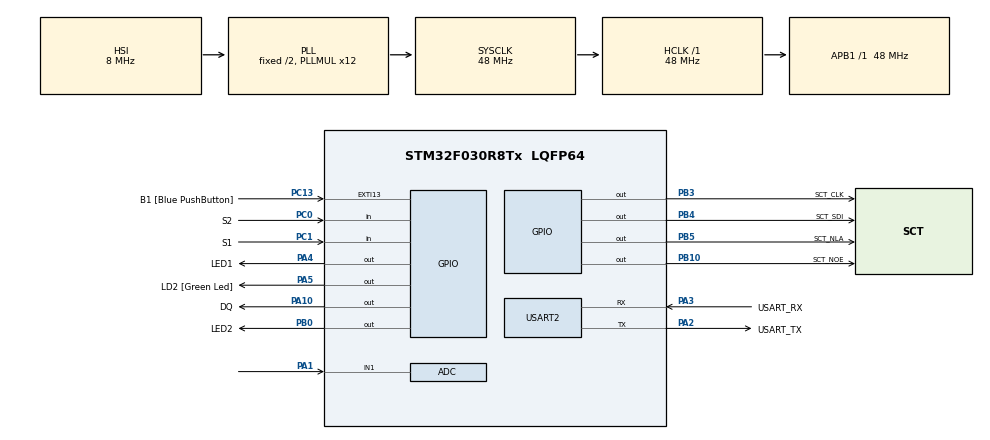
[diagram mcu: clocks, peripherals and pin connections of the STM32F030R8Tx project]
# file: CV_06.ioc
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ADC.ContinuousConvMode=ENABLE
ADC.Overrun=ADC_OVR_DATA_OVERWRITTEN
ADC.Resolution=ADC_RESOLUTION_10B
Mcu.Family=STM32F0
Mcu.Name=STM32F030R8Tx
Mcu.Package=LQFP64
PA1.Mode=IN1
PA1.Signal=ADC_IN1
PA10.GPIO_Label=DQ
PA10.GPIO_ModeDefaultOutputPP=GPIO_MODE_OUTPUT_OD
PA10.GPIO_PuPd=GPIO_NOPULL
PA10.PinState=GPIO_PIN_SET
PA10.Signal=GPIO_Output
PA13.GPIO_Label=TMS
PA13.Mode=Serial_Wire
PA13.Signal=SYS_SWDIO
PA14.GPIO_Label=TCK
PA14.Mode=Serial_Wire
PA14.Signal=SYS_SWCLK
PA2.GPIO_Label=USART_TX
PA2.GPIO_Mode=GPIO_MODE_AF_PP
PA2.GPIO_PuPd=GPIO_NOPULL
PA2.GPIO_Speed=GPIO_SPEED_FREQ_LOW
PA2.Mode=Asynchronous
PA2.Signal=USART2_TX
PA3.GPIO_Label=USART_RX
PA3.GPIO_Mode=GPIO_MODE_AF_PP
PA3.GPIO_PuPd=GPIO_NOPULL
PA3.GPIO_Speed=GPIO_SPEED_FREQ_LOW
PA3.Mode=Asynchronous
PA3.Signal=USART2_RX
PA4.GPIO_Label=LED1
PA4.Signal=GPIO_Output
PA5.GPIO_Label=LD2 [Green Led]
PA5.GPIO_Mode=GPIO_MODE_OUTPUT_PP
PA5.GPIO_PuPd=GPIO_NOPULL
PA5.GPIO_Speed=GPIO_SPEED_FREQ_LOW
PA5.Signal=GPIO_Output
PB0.GPIO_Label=LED2
PB0.Signal=GPIO_Output
PB10.GPIO_Label=SCT_NOE
PB10.Signal=GPIO_Output
PB3.GPIO_Label=SCT_CLK
PB3.Signal=GPIO_Output
PB4.GPIO_Label=SCT_SDI
PB4.Signal=GPIO_Output
PB5.GPIO_Label=SCT_NLA
PB5.Signal=GPIO_Output
PC0.GPIO_Label=S2
PC0.GPIO_PuPd=GPIO_PULLUP
PC0.Signal=GPIO_Input
PC1.GPIO_Label=S1
PC1.GPIO_PuPd=GPIO_PULLUP
PC1.Signal=GPIO_Input
PC13.GPIO_Label=B1 [Blue PushButton]
PC13.GPIO_ModeDefaultEXTI=GPIO_MODE_IT_FALLING
PC13.Signal=GPXTI13
PC14-OSC32_IN.Mode=LSE-External-Oscillator
PC14-OSC32_IN.Signal=RCC_OSC32_IN
PC15-OSC32_OUT.Mode=LSE-External-Oscillator
PC15-OSC32_OUT.Signal=RCC_OSC32_OUT
PF0-OSC_IN.Mode=HSE-External-Clock-Source
PF0-OSC_IN.Signal=RCC_OSC_IN
PF1-OSC_OUT.Signal=RCC_OSC_OUT
ProjectManager.HeapSize=0x200
ProjectManager.StackSize=0x400
ProjectManager.TargetToolchain=STM32CubeIDE
RCC.AHBFreq_Value=48000000
RCC.APB1Freq_Value=48000000
RCC.APB1TimFreq_Value=48000000
RCC.HCLKFreq_Value=48000000
RCC.PLLMUL=RCC_PLL_MUL12
RCC.SYSCLKFreq_VALUE=48000000
RCC.SYSCLKSource=RCC_SYSCLKSOURCE_PLLCLK
USART2.VirtualMode-Asynchronous=VM_ASYNC
board=NUCLEO-F030R8

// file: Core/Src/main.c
/* USER CODE BEGIN Header */
/**
 ******************************************************************************
 * @file           : main.c
 * @brief          : Main program body
 ******************************************************************************
 * @attention
 *
 * Copyright (c) 2023 STMicroelectronics.
 * All rights reserved.
 *
 * This software is licensed under terms that can be found in the LICENSE file
 * in the root directory of this software component.
 * If no LICENSE file comes with this software, it is provided AS-IS.
 *
 ******************************************************************************
 */
/* USER CODE END Header */
#include "main.h"

/* USER CODE BEGIN Includes */
#include "1wire.h"
#include "sct.h"
/* USER CODE END Includes */

ADC_HandleTypeDef hadc;

UART_HandleTypeDef huart2;

void SystemClock_Config(void);
static void MX_GPIO_Init(void);
static void MX_USART2_UART_Init(void);
static void MX_ADC_Init(void);
/* USER CODE BEGIN PFP */
static const int16_t ntc[] = {
#include "C:\Temp\Macejko\embeded\CV_06\data.dlm"
		};
/* USER CODE END PFP */

int main(void) {

	/* MCU Configuration--------------------------------------------------------*/

	/* Reset of all peripherals, Initializes the Flash interface and the Systick. */
	HAL_Init();

	/* Configure the system clock */
	SystemClock_Config();

	/* Initialize all configured peripherals */
	MX_GPIO_Init();
	MX_USART2_UART_Init();
	MX_ADC_Init();
	/* USER CODE BEGIN 2 */
	OWInit();
	sct_init();
	HAL_ADCEx_Calibration_Start(&hadc);
	HAL_ADC_Start(&hadc);
	static enum {
		DS18B20, NTC
	} state = NTC;

	/* USER CODE END 2 */

	/* Infinite loop */
	/* USER CODE BEGIN WHILE */
	while (1) {

		/*int16_t temp;
		 if (OWReadTemperature(&temp))
		 sct_value(temp / 10 + 5);
		 else
		 sct_value(000);
		 */

		if (HAL_GPIO_ReadPin(S1_GPIO_Port, S1_Pin) == 0) {
			state = DS18B20;

		} else if (HAL_GPIO_ReadPin(S2_GPIO_Port, S2_Pin) == 0) {
			state = NTC;
		}

		int16_t temp_adc = ntc[HAL_ADC_GetValue(&hadc)];
		int16_t temp;

		switch (state) {
		case NTC:
			HAL_GPIO_WritePin(LED1_GPIO_Port, LED1_Pin, 1);
			HAL_GPIO_WritePin(LED2_GPIO_Port, LED2_Pin, 0);
			HAL_Delay(500);
			sct_value(temp_adc*10);
			break;
		case DS18B20:
			HAL_GPIO_WritePin(LED1_GPIO_Port, LED1_Pin, 0);
			HAL_GPIO_WritePin(LED2_GPIO_Port, LED2_Pin, 1);
			//OWConvertAll();
			//HAL_Delay(CONVERT_T_DELAY);
			//OWReadTemperature(&temp);
			sct_value(temp);
			break;
		default:
			break;
		}

		/* USER CODE END WHILE */

	}
}

void SystemClock_Config(void) {
	RCC_OscInitTypeDef RCC_OscInitStruct = { 0 };
	RCC_ClkInitTypeDef RCC_ClkInitStruct = { 0 };

	/** Initializes the RCC Oscillators according to the specified parameters
	 * in the RCC_OscInitTypeDef structure.
	 */
	RCC_OscInitStruct.OscillatorType = RCC_OSCILLATORTYPE_HSI
			| RCC_OSCILLATORTYPE_HSI14;
	RCC_OscInitStruct.HSIState = RCC_HSI_ON;
	RCC_OscInitStruct.HSI14State = RCC_HSI14_ON;
	RCC_OscInitStruct.HSICalibrationValue = RCC_HSICALIBRATION_DEFAULT;
	RCC_OscInitStruct.HSI14CalibrationValue = 16;
	RCC_OscInitStruct.PLL.PLLState = RCC_PLL_ON;
	RCC_OscInitStruct.PLL.PLLSource = RCC_PLLSOURCE_HSI;
	RCC_OscInitStruct.PLL.PLLMUL = RCC_PLL_MUL12;
	RCC_OscInitStruct.PLL.PREDIV = RCC_PREDIV_DIV1;
	if (HAL_RCC_OscConfig(&RCC_OscInitStruct) != HAL_OK) {
		Error_Handler();
	}

	/** Initializes the CPU, AHB and APB buses clocks
	 */
	RCC_ClkInitStruct.ClockType = RCC_CLOCKTYPE_HCLK | RCC_CLOCKTYPE_SYSCLK
			| RCC_CLOCKTYPE_PCLK1;
	RCC_ClkInitStruct.SYSCLKSource = RCC_SYSCLKSOURCE_PLLCLK;
	RCC_ClkInitStruct.AHBCLKDivider = RCC_SYSCLK_DIV1;
	RCC_ClkInitStruct.APB1CLKDivider = RCC_HCLK_DIV1;

	if (HAL_RCC_ClockConfig(&RCC_ClkInitStruct, FLASH_LATENCY_1) != HAL_OK) {
		Error_Handler();
	}
}

static void MX_ADC_Init(void) {

	ADC_ChannelConfTypeDef sConfig = { 0 };

	/** Configure the global features of the ADC (Clock, Resolution, Data Alignment and number of conversion)
	 */
	hadc.Instance = ADC1;
	hadc.Init.ClockPrescaler = ADC_CLOCK_ASYNC_DIV1;
	hadc.Init.Resolution = ADC_RESOLUTION_10B;
	hadc.Init.DataAlign = ADC_DATAALIGN_RIGHT;
	hadc.Init.ScanConvMode = ADC_SCAN_DIRECTION_FORWARD;
	hadc.Init.EOCSelection = ADC_EOC_SINGLE_CONV;
	hadc.Init.LowPowerAutoWait = DISABLE;
	hadc.Init.LowPowerAutoPowerOff = DISABLE;
	hadc.Init.ContinuousConvMode = ENABLE;
	hadc.Init.DiscontinuousConvMode = DISABLE;
	hadc.Init.ExternalTrigConv = ADC_SOFTWARE_START;
	hadc.Init.ExternalTrigConvEdge = ADC_EXTERNALTRIGCONVEDGE_NONE;
	hadc.Init.DMAContinuousRequests = DISABLE;
	hadc.Init.Overrun = ADC_OVR_DATA_OVERWRITTEN;
	if (HAL_ADC_Init(&hadc) != HAL_OK) {
		Error_Handler();
	}

	/** Configure for the selected ADC regular channel to be converted.
	 */
	sConfig.Channel = ADC_CHANNEL_1;
	sConfig.Rank = ADC_RANK_CHANNEL_NUMBER;
	sConfig.SamplingTime = ADC_SAMPLETIME_1CYCLE_5;
	if (HAL_ADC_ConfigChannel(&hadc, &sConfig) != HAL_OK) {
		Error_Handler();
	}

}

static void MX_USART2_UART_Init(void) {

	huart2.Instance = USART2;
	huart2.Init.BaudRate = 38400;
	huart2.Init.WordLength = UART_WORDLENGTH_8B;
	huart2.Init.StopBits = UART_STOPBITS_1;
	huart2.Init.Parity = UART_PARITY_NONE;
	huart2.Init.Mode = UART_MODE_TX_RX;
	huart2.Init.HwFlowCtl = UART_HWCONTROL_NONE;
	huart2.Init.OverSampling = UART_OVERSAMPLING_16;
	huart2.Init.OneBitSampling = UART_ONE_BIT_SAMPLE_DISABLE;
	huart2.AdvancedInit.AdvFeatureInit = UART_ADVFEATURE_NO_INIT;
	if (HAL_UART_Init(&huart2) != HAL_OK) {
		Error_Handler();
	}

}

static void MX_GPIO_Init(void) {
	GPIO_InitTypeDef GPIO_InitStruct = { 0 };

	/* GPIO Ports Clock Enable */
	__HAL_RCC_GPIOC_CLK_ENABLE();
	__HAL_RCC_GPIOF_CLK_ENABLE();
	__HAL_RCC_GPIOA_CLK_ENABLE();
	__HAL_RCC_GPIOB_CLK_ENABLE();

	/*Configure GPIO pin Output Level */
	HAL_GPIO_WritePin(GPIOA, LED1_Pin | LD2_Pin, GPIO_PIN_RESET);

	/*Configure GPIO pin Output Level */
	HAL_GPIO_WritePin(GPIOB,
	LED2_Pin | SCT_NOE_Pin | SCT_CLK_Pin | SCT_SDI_Pin | SCT_NLA_Pin,
			GPIO_PIN_RESET);

	/*Configure GPIO pin Output Level */
	HAL_GPIO_WritePin(DQ_GPIO_Port, DQ_Pin, GPIO_PIN_SET);

	/*Configure GPIO pin : B1_Pin */
	GPIO_InitStruct.Pin = B1_Pin;
	GPIO_InitStruct.Mode = GPIO_MODE_IT_FALLING;
	GPIO_InitStruct.Pull = GPIO_NOPULL;
	HAL_GPIO_Init(B1_GPIO_Port, &GPIO_InitStruct);

	/*Configure GPIO pins : S2_Pin S1_Pin */
	GPIO_InitStruct.Pin = S2_Pin | S1_Pin;
	GPIO_InitStruct.Mode = GPIO_MODE_INPUT;
	GPIO_InitStruct.Pull = GPIO_PULLUP;
	HAL_GPIO_Init(GPIOC, &GPIO_InitStruct);

	/*Configure GPIO pins : LED1_Pin LD2_Pin */
	GPIO_InitStruct.Pin = LED1_Pin | LD2_Pin;
	GPIO_InitStruct.Mode = GPIO_MODE_OUTPUT_PP;
	GPIO_InitStruct.Pull = GPIO_NOPULL;
	GPIO_InitStruct.Speed = GPIO_SPEED_FREQ_LOW;
	HAL_GPIO_Init(GPIOA, &GPIO_InitStruct);

	/*Configure GPIO pins : LED2_Pin SCT_NOE_Pin SCT_CLK_Pin SCT_SDI_Pin
	 SCT_NLA_Pin */
	GPIO_InitStruct.Pin = LED2_Pin | SCT_NOE_Pin | SCT_CLK_Pin | SCT_SDI_Pin
			| SCT_NLA_Pin;
	GPIO_InitStruct.Mode = GPIO_MODE_OUTPUT_PP;
	GPIO_InitStruct.Pull = GPIO_NOPULL;
	GPIO_InitStruct.Speed = GPIO_SPEED_FREQ_LOW;
	HAL_GPIO_Init(GPIOB, &GPIO_InitStruct);

	/*Configure GPIO pin : DQ_Pin */
	GPIO_InitStruct.Pin = DQ_Pin;
	GPIO_InitStruct.Mode = GPIO_MODE_OUTPUT_OD;
	GPIO_InitStruct.Pull = GPIO_NOPULL;
	GPIO_InitStruct.Speed = GPIO_SPEED_FREQ_LOW;
	HAL_GPIO_Init(DQ_GPIO_Port, &GPIO_InitStruct);

}

void Error_Handler(void) {
	__disable_irq();
	while (1) {
	}
}
